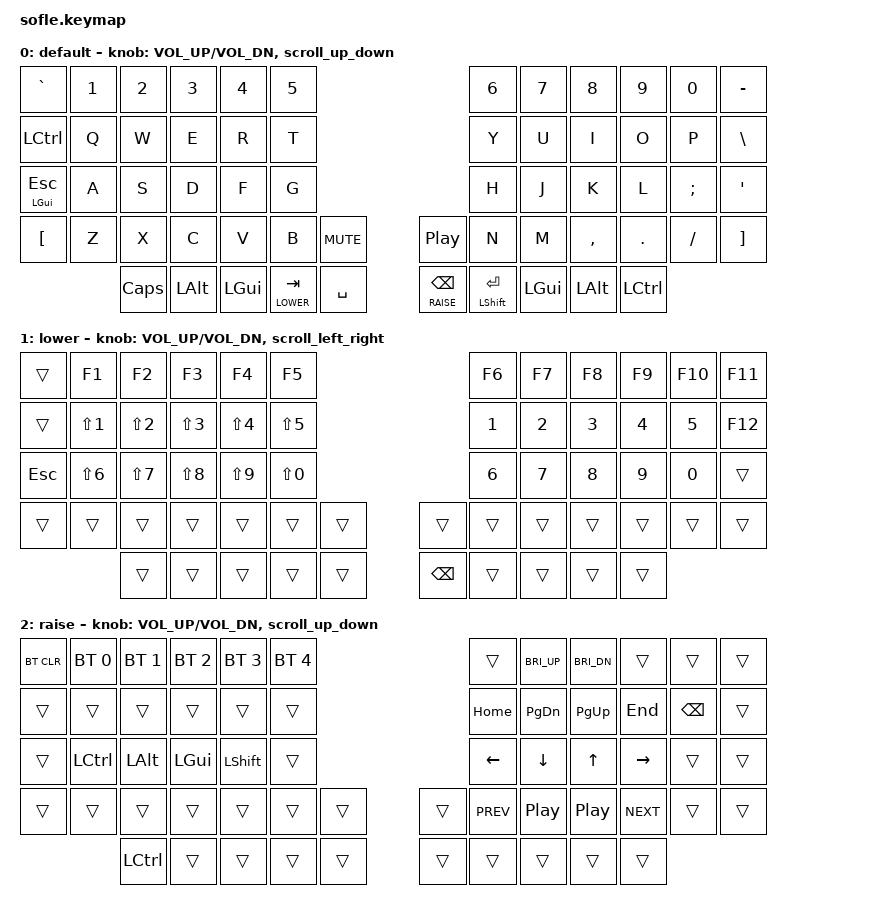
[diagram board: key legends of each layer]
#include <behaviors.dtsi>
#include <dt-bindings/zmk/keys.h>
#include <dt-bindings/zmk/bt.h>
#include <dt-bindings/zmk/ext_power.h>
#include <dt-bindings/zmk/pointing.h>

#define ZMK_POINTING_DEFAULT_SCRL_VAL 100
#define BASE 0
#define LOWER 1
#define RAISE 2

/ {
    behaviors {
        scroll_up_down: behavior_sensor_rotate_mouse_wheel_up_down {
            compatible = "zmk,behavior-sensor-rotate";
            #sensor-binding-cells = <0>;
            bindings = <&msc SCRL_UP>, <&msc SCRL_DOWN>;
            tap-ms = <20>;
        };
        scroll_left_right: behavior_sensor_rotate_mouse_wheel_left_right {
            compatible = "zmk,behavior-sensor-rotate";
            #sensor-binding-cells = <0>;
            bindings = <&msc SCRL_LEFT>, <&msc SCRL_RIGHT>;
            tap-ms = <20>;
        };
    };

    combos {
        compatible = "zmk,combos";
        // +
        combo_plus {
            timeout-ms = <50>;
            key-positions = <14 15>;
            bindings = <&kp LS(EQUAL)>;
        };
        // +
        combo_equal {
            timeout-ms = <50>;
            key-positions = <15 16>;
            bindings = <&kp EQUAL>;
        };
        // (
        combo_lparenthesis {
            timeout-ms = <50>;
            key-positions = <26 27>;
            bindings = <&kp LS(N9)>;
        };
        // )
        combo_rparenthesis {
            timeout-ms = <50>;
            key-positions = <27 28>;
            bindings = <&kp LS(N0)>;
        };
        // [
        combo_lbracket {
            timeout-ms = <50>;
            key-positions = <19 20>;
            bindings = <&kp LBKT>;
        };
        // ]
        combo_rbracket {
            timeout-ms = <50>;
            key-positions = <20 21>;
            bindings = <&kp RBKT>;
        };
        // {
        combo_lbrace {
            timeout-ms = <50>;
            key-positions = <31 32>;
            bindings = <&kp LS(LBKT)>;
        };
        // }
        combo_rbrace {
            timeout-ms = <50>;
            key-positions = <32 33>;
            bindings = <&kp LS(RBKT)>;
        };
        // <
        combo_larrow {
            timeout-ms = <50>;
            key-positions = <45 46>;
            bindings = <&kp LS(COMMA)>;
        };
        // >
        combo_rarrow {
            timeout-ms = <50>;
            key-positions = <46 47>;
            bindings = <&kp LS(DOT)>;
        };
    };

    keymap {
        compatible = "zmk,keymap";

        default_layer {
            display-name = "default";
// ---------------------------------------------------------------------------------------------------------------------------
// |  `   |  1  |   2  |  3  |  4  |    5    |                                       |   6   |  7  |  8  |   9  |  0  |   -  |
// | TAB  |  Q  |   W  |  E  |  R  |    T    |                                       |   Y   |  U  |  I  |   O  |  P  |   \  |
// | ESC  |  A  |   S  |  D  |  F  |    G    |                                       |   H   |  J  |  K  |   L  |  ;  |   '  |
// | CTRL |  Z  |   X  |  C  |  V  |    B    | MUTE |                         |  PP  |   N   |  M  |  ,  |   .  |  /  | SHFT |
//              | CAPS | ALT | GUI | 1/SPACE | SHFT |                         | BKSP | 2/RET | GUI | ALT | CTRL |
            bindings = <
&kp GRAVE    &kp N1 &kp N2   &kp N3   &kp N4   &kp N5                                            &kp N6        &kp N7   &kp N8    &kp N9   &kp N0   &kp MINUS
&kp LCTRL    &kp Q  &kp W    &kp E    &kp R    &kp T                                             &kp Y         &kp U    &kp I     &kp O    &kp P    &kp BSLH
&mt LGUI ESC &kp A  &kp S    &kp D    &kp F    &kp G                                             &kp H         &kp J    &kp K     &kp L    &kp SEMI &kp SQT
&kp LBKT     &kp Z  &kp X    &kp C    &kp V    &kp B         &kp C_MUTE           &kp C_PP       &kp N         &kp M    &kp COMMA &kp DOT  &kp FSLH &kp RBKT
                    &kp CAPS &kp LALT &kp LGUI &lt LOWER TAB &kp SPACE            &lt RAISE BSPC &mt LSHFT RET &kp LGUI &kp LALT  &kp LCTRL
            >;

            sensor-bindings = <&inc_dec_kp C_VOL_UP C_VOL_DN &scroll_up_down>;
        };

        lower_layer {
            display-name = "lower";
// -----------------------------------------------------------------------------------------------------------------------------
// |    |  F1 |  F2 |  F3  |  F4  |  F5 |                                        |  F6  |  F7   |  F8   |  F9  |  F10  |  F11  |
// |    |  !  |  @  |  #   |  $   |  %  |                                        |   1  |   2   |   3   |   4  |   5   |  F12  |
// |    |  ^  |  &  |  *   |  (   |  )  |                                        |   6  |   7   |   8   |   9  |   0   |       |
// |    |     |     |      |      |     |        |                       |       |      |       |       |      |       |       |
//            |     |      |      |     |        |                       |       |      |       |       |      |
            bindings = <
&trans  &kp F1     &kp F2     &kp F3     &kp F4     &kp F5                         &kp F6 &kp F7 &kp F8 &kp F9 &kp F10 &kp F11
&trans  &kp LS(N1) &kp LS(N2) &kp LS(N3) &kp LS(N4) &kp LS(N5)                     &kp N1 &kp N2 &kp N3 &kp N4 &kp N5  &kp F12
&kp ESC &kp LS(N6) &kp LS(N7) &kp LS(N8) &kp LS(N9) &kp LS(N0)                     &kp N6 &kp N7 &kp N8 &kp N9 &kp N0  &trans
&trans  &trans     &trans     &trans     &trans     &trans     &trans     &trans   &trans &trans &trans &trans &trans  &trans
                   &trans     &trans     &trans     &trans     &trans     &kp BSPC &trans &trans &trans &trans
            >;

            sensor-bindings = <&inc_dec_kp C_VOL_UP C_VOL_DN &scroll_left_right>;
        };

        raise_layer {
            display-name = "raise";
// ------------------------------------------------------------------------------------------------------------------------------------
// | BTCLR | BT1  | BT2  |  BT3  |  BT4  |  BT5 |                                            |      | BRUP | BRDN |      |    |       |
// |       |      |      |       |       |      |                                            | HOME | PGDN | PGUP |  END |    | BKSPC |
// |       | CTRL | ALT  |  GUI  | SHIFT |      |                                            |  <-  |   v  |   ^  |  ->  |    |       |
// |       |      |      |       |       |      |      |                              |      | PREV |  PP  |  PP  | NEXT |    |       |
//                |      |       |       |      |      |                              |      |      |      |      |      |
            bindings = <
&bt BT_CLR &bt BT_SEL 0 &bt BT_SEL 1 &bt BT_SEL 2 &bt BT_SEL 3 &bt BT_SEL 4                    &trans     &kp C_BRI_UP  &kp C_BRI_DN  &trans     &trans    &trans
&trans     &trans       &trans       &trans       &trans       &trans                          &kp HOME   &kp PG_DN     &kp PG_UP     &kp END    &kp BSPC  &trans
&trans     &kp LCTRL    &kp LALT     &kp LGUI     &kp LSHFT    &trans                          &kp LEFT   &kp DOWN      &kp UP        &kp RIGHT  &trans    &trans
&trans     &trans       &trans       &trans       &trans       &trans        &trans    &trans  &kp C_PREV &kp C_PP      &kp C_PP      &kp C_NEXT &trans    &trans
                        &kp LCTRL    &trans       &trans       &trans        &trans    &trans  &trans     &trans        &trans        &trans
            >;

            sensor-bindings = <&inc_dec_kp C_VOL_UP C_VOL_DN &scroll_up_down>;
        };

        extra1 {
            status = "reserved";
        };

        extra2 {
            status = "reserved";
        };
    };
};
